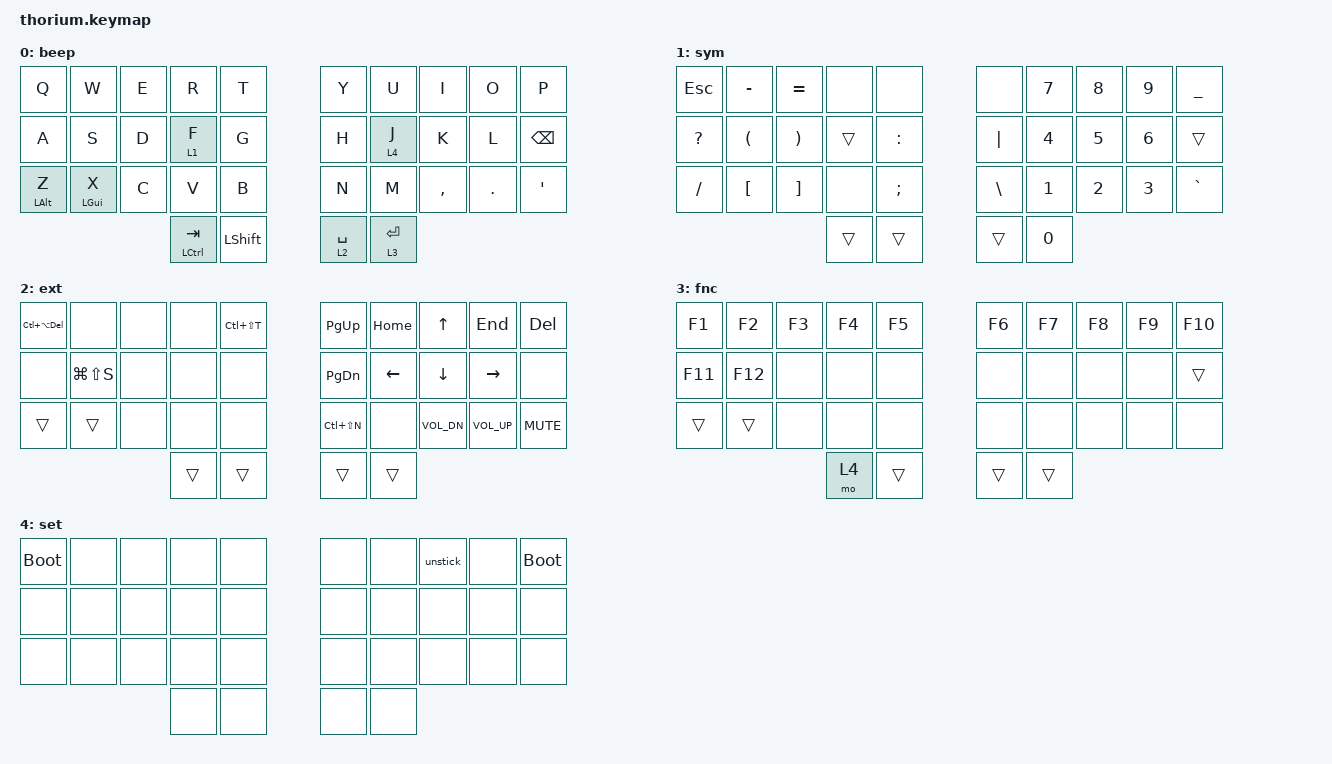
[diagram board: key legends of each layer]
#pragma once

#include <behaviors.dtsi>
#include <dt-bindings/zmk/keys.h>
#include <dt-bindings/zmk/bt.h>
#include <dt-bindings/zmk/outputs.h>

// Layer definitions

#define BASE 0
#define SYM 1
#define EXT 2
#define FNC 3
#define SYM2 4
#define ACCENT 5
#define SETTINGS 6

// -----------------

&lt {  // layer-tap config
    flavor = "balanced";
    tapping-term-ms = <200>;
    quick-tap-ms = <175>;
};

/ {

    macros {
        // sometimes my device thinks a modifier is being held down
        // pressing all modifiers fixes it.

        unstick: unstick {
            label = "ZM_unstick";
            compatible = "zmk,behavior-macro";
            #binding-cells = <0>;
            bindings = <&kp LSHIFT &kp RSHIFT &kp LCTRL &kp RCTRL &kp LALT &kp RALT &kp LGUI &kp RGUI>;
        };
    };

    keymap {
        compatible = "zmk,keymap";

        // Base alpha layer

        default_layer {
            label = "beep";
            bindings = <
                &kp Q             &kp W             &kp E    &kp R            &kp T             &kp Y          &kp U        &kp I        &kp O      &kp P
                &kp A             &kp S             &kp D    &lt 1 F          &kp G             &kp H          &lt 4 J      &kp K        &kp L      &kp BACKSPACE
                &mt LEFT_ALT Z    &mt LEFT_GUI X    &kp C    &kp V            &kp B             &kp N          &kp M        &kp COMMA    &kp DOT    &kp SQT
                                                             &mt LCTRL TAB    &kp LEFT_SHIFT    &lt 2 SPACE    &lt 3 ENTER
            >;
        };

        // Numbers and high frequency symbols
        sym_layer {
            label = "sym";
            bindings = <
                &kp ESCAPE      &kp MINUS               &kp EQUAL                &none     &none            &none            &kp N7          &kp N8          &kp N9          &kp UNDER
                &kp QUESTION    &kp LEFT_PARENTHESIS    &kp RIGHT_PARENTHESIS    &trans    &kp COLON        &kp PIPE         &kp NUMBER_4    &kp N5          &kp NUMBER_6    &trans
                &kp SLASH       &kp LEFT_BRACKET        &kp RIGHT_BRACKET        &none     &kp SEMICOLON    &kp BACKSLASH    &kp NUMBER_1    &kp NUMBER_2    &kp NUMBER_3    &kp GRAVE
                                                                                 &trans    &trans           &trans           &kp N0
            >;
        };

        // Main modifiers and arrow keys
        ext_layer {
            label = "ext";
            bindings = <
                &kp LC(LA(DEL))    &none            &none    &none     &kp LC(LS(T))    &kp PAGE_UP      &kp HOME      &kp UP          &kp END            &kp DEL
                &none              &kp LG(LS(S))    &none    &none     &none            &kp PAGE_DOWN    &kp LEFT      &kp DOWN        &kp RIGHT          &none
                &trans             &trans           &none    &none     &none            &kp LC(LS(N))    &none         &kp C_VOL_DN    &kp C_VOLUME_UP    &kp C_MUTE
                                                             &trans    &trans           &trans           &trans
            >;
        };

        // Function keys with modifiers
        fnc_layer {
            label = "fnc";
            bindings = <
                &kp F1     &kp F2     &kp F3    &kp F4    &kp F5    &kp F6    &kp F7    &kp F8      &kp F9      &kp F10
                &kp F11    &kp F12    &none     &none     &none     &none     &none     &none       &none       &trans
                &trans     &trans     &none     &none     &none     &none     &none     &none       &none       &none
                                                &mo 4     &trans    &trans    &trans
            >;
        };

        // Low frequency symbols.
        // Used to type regional accents.
        // Used to change the keyboard's settings.
        settings_layer {
            label = "set";
            bindings = <
                &bootloader    &none    &none    &none      &none       &none    &none    &unstick    &none    &bootloader
                &none          &none    &none    &none      &none       &none    &none    &none       &none    &none
                &none          &none    &none    &none      &none       &none    &none    &none       &none    &none
                                                 &none      &none       &none    &none
            >;
        };
    };
};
